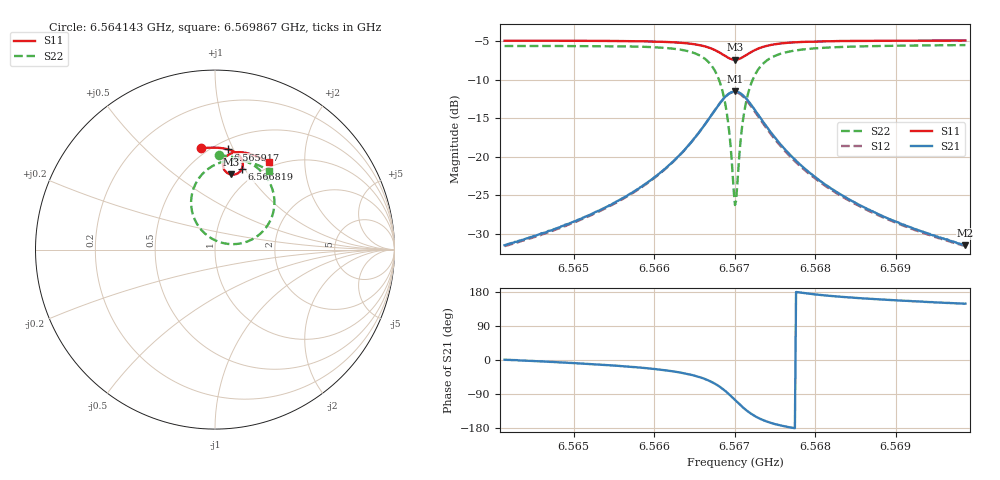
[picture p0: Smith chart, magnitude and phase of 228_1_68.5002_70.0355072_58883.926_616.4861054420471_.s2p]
#  HZ  S  RI  R  50.00
! Rohde & Schwarz Vector Network Analyzer
! Rohde-Schwarz,ZNB20-2Port,1311601062101988,3.16
! Created: UTC 3/20/2024, 4:58:49 PM
! freq[Hz]  re:S11  im:S11  re:S21  im:S21  re:S12  im:S12  re:S22  im:S22
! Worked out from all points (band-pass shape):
!   401 points, 6.564143 GHz to 6.569867 GHz, reference 50 ohm
!   highest |S21| = -11.51 dB at 6.567005 GHz (marker M1); lowest = -31.5 dB at 6.569867 GHz (marker M2)
!   |S21| within 3 dB of the highest: 6.566718 GHz to 6.567292 GHz (573.8 kHz wide, 0.00874 % of centre)
!   lowest |S11| = -7.4 dB at 6.567005 GHz (marker M3), VSWR 2.50, Z = 40.5 + j41.6 ohm
!   |S11| at or under -10 dB: nowhere
!   |S22| runs from -26.3 to -5.5 dB; largest |S21 - S12| = 0.012
!   S11 on the Smith chart (normalised r, x): 6.564143 GHz: 0.46, +0.76; 6.565917 GHz: 0.58, +0.95; 6.566819 GHz: 0.84, +0.97; 6.569867 GHz: 0.93, +1.34
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6.5641429e9  -0.0792 0.5636  0.0265 0.000327  0.0262 -9.03e-05  0.0201 0.525
6.5651016e9  -0.00138 0.5681  0.0392 -0.00653  0.0385 -0.00698  0.1084 0.5141
6.5659173e9  0.0726 0.5582  0.0631 -0.0253  0.0621 -0.0261  0.2079 0.4744
6.5660604e9  0.0873 0.5535  0.0701 -0.0328  0.069 -0.0336  0.2306 0.4593
6.5663753e9  0.1225 0.5354  0.0903 -0.0634  0.0889 -0.0648  0.2889 0.3986
6.5665899e9  0.1466 0.5082  0.1035 -0.1106  0.1011 -0.1127  0.327 0.3075
6.5667187e9  0.1552 0.4796  0.0989 -0.1604  0.095 -0.1633  0.3257 0.2125
6.5668189e9  0.1499 0.4502  0.0724 -0.2113  0.0656 -0.214  0.2796 0.1168
6.5669047e9  0.1291 0.4263  0.0199 -0.2503  0.0103 -0.2509  0.1841 0.0464
6.5669334e9  0.1185 0.4211  -0.004 -0.258  -0.0146 -0.2571  0.1406 0.034
6.5669906e9  0.0939 0.4178  -0.0573 -0.2593  -0.0682 -0.2548  0.0459 0.0363
6.5670049e9  0.0876 0.4188  -0.0708 -0.2562  -0.0814 -0.2508  0.0226 0.0428
6.5670335e9  0.0755 0.423  -0.0962 -0.2463  -0.1061 -0.2389  -0.0208 0.0632
6.5670908e9  0.0565 0.4382  -0.1375 -0.2142  -0.1445 -0.2044  -0.0882 0.1247
6.5671337e9  0.0479 0.4529  -0.1577 -0.1843  -0.162 -0.1738  -0.1181 0.1797
6.567191e9  0.0439 0.4733  -0.1704 -0.1441  -0.1716 -0.1341  -0.1329 0.2511
6.5672625e9  0.0479 0.4952  -0.1701 -0.101  -0.169 -0.0927  -0.1243 0.3257
6.5675201e9  0.0868 0.5344  -0.1274 -0.0221  -0.1247 -0.0185  -0.0277 0.4568
6.5679637e9  0.1453 0.5424  -0.0759 0.00799  -0.0741 0.00922  0.0932 0.4972
6.5683644e9  0.1851 0.5356  -0.0533 0.0131  -0.0521 0.0137  0.1586 0.4941
6.5689225e9  0.2321 0.5199  -0.0365 0.0144  -0.0358 0.0147  0.2225 0.4776
6.569867e9  0.3005 0.4855  -0.0226 0.0137  -0.0222 0.0139  0.3021 0.4389
